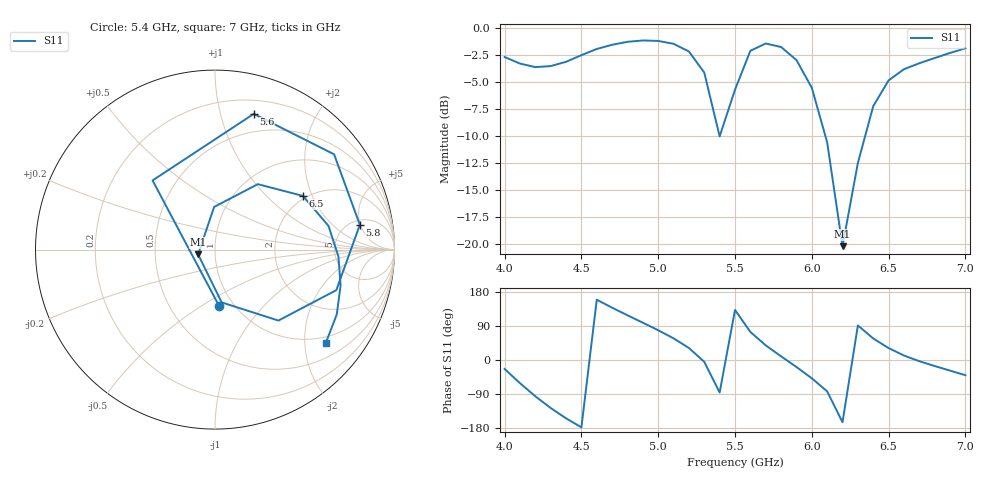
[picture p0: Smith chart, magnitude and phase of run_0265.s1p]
! Touchstone file exported from HFSS 2024.2.0
!  File:  C:/Users/wsak9/Desktop/Sim Fast/Widenad Patch/WP_AI_V1_sweep.aedt
!  Generated:  02:09:46 AM Oct 14, 2026
!  Design:  A1_model
!  Project:  WP_AI_V1_sweep
!  Setup:  Setup1
!  Solution:  Sweep
! Variables:
!  Air_gap = 3.09mm
!  Curve_Amp1 = 3.37
!  Curve_len1 = 1
!  Curve_pos = 10.955mm
!  Extra = 7.05mm
!  H_sub = 0.79mm
!  L_Patch = 17.91mm
!  L_Patch1 = 21.12mm
!  Sx = 3.82mm
!  Sy = 2.24mm
!  WS = 1.13mm
!  W_Patch = 14.91mm
!  W_Patch1 = 14.07mm
!Data is not renormalized
# GHz S MA
! Terminal data exported
! Port[1] = 1
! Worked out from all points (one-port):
!   31 points, 4 GHz to 7 GHz, reference per port
!   lowest |S11| = -20.2 dB at 6.2 GHz (marker M1), VSWR 1.22
!   |S11| at or under -10 dB: 5.399687 GHz to 5.400428 GHz (741.4 kHz wide, 0.0137 % of centre); 6.089 GHz to 6.347 GHz (258.2 MHz wide, 4.15 % of centre)
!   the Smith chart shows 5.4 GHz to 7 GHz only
!   S11 on the Smith chart (normalised r, x): 5.4 GHz: 0.85, -0.60; 5.6 GHz: 0.32, +1.27; 5.8 GHz: 5.86, +4.90; 6.5 GHz: 1.92, +1.71; 7 GHz: 0.84, -2.50
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4  0.7357 -23.7
4.1  0.6863 -61.1
4.2  0.6607 -95.8
4.3  0.668 -126.7
4.4  0.6993 -153.9
4.5  0.7506 -177.7
4.6  0.8018 159.1
4.7  0.8385 138.0
4.8  0.8654 118.0
4.9  0.878 98.4
5  0.8737 78.5
5.1  0.847 57.1
5.2  0.7805 31.6
5.3  0.6232 -4.9
5.4  0.3156 -85.8
5.5  0.5192 132.1
5.6  0.7862 74.1
5.7  0.8498 38.7
5.8  0.8187 9.7
5.9  0.7126 -18.5
6  0.5302 -48.2
6.1  0.2965 -82.8
6.2  0.09791 -164.2
6.3  0.2377 91.2
6.4  0.4356 56.8
6.5  0.5737 31.4
6.7  0.6888 -3.2
7  0.8073 -40.1
